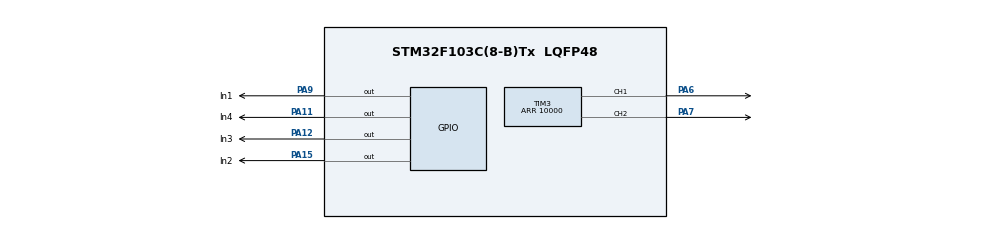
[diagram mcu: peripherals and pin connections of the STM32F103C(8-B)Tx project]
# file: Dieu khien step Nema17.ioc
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Mcu.Family=STM32F1
Mcu.Name=STM32F103C(8-B)Tx
Mcu.Package=LQFP48
NVIC.PriorityGroup=NVIC_PRIORITYGROUP_4
PA11.GPIO_Label=In4
PA11.Signal=GPIO_Output
PA12.GPIO_Label=In3
PA12.Signal=GPIO_Output
PA13.Mode=Serial_Wire
PA13.Signal=SYS_JTMS-SWDIO
PA14.Mode=Serial_Wire
PA14.Signal=SYS_JTCK-SWCLK
PA15.GPIO_Label=In2
PA15.Signal=GPIO_Output
PA6.Signal=S_TIM3_CH1
PA7.Signal=S_TIM3_CH2
PA9.GPIO_Label=In1
PA9.Signal=GPIO_Output
ProjectManager.HeapSize=0x200
ProjectManager.StackSize=0x400
ProjectManager.TargetToolchain=MDK-ARM V5.32
RCC.APB1Freq_Value=8000000
RCC.APB2Freq_Value=8000000
SH.S_TIM3_CH1.0=TIM3_CH1,PWM Generation1 CH1
SH.S_TIM3_CH2.0=TIM3_CH2,PWM Generation2 CH2
TIM2.Period=65535
TIM2.Prescaler=7
TIM3.Channel-PWM\ Generation1\ CH1=TIM_CHANNEL_1
TIM3.Channel-PWM\ Generation2\ CH2=TIM_CHANNEL_2
TIM3.Period=10000
VP_TIM2_VS_ClockSourceINT.Mode=Internal
board=custom

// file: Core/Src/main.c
/* USER CODE BEGIN Header */
/**
 ******************************************************************************
 * @file           : main.c
 * @brief          : Main program body, Microstepping motor driver control in
 * half-stepping and microstepping modes (3/12/2023)
 ******************************************************************************
 * @attention
 *
 * Copyright (c) 2023 STMicroelectronics.
 * All rights reserved.
 *
 * This software is licensed under terms that can be found in the LICENSE file
 * in the root directory of this software component.
 * If no LICENSE file comes with this software, it is provided AS-IS.
 *
 ******************************************************************************
 */
/* USER CODE END Header */
#include "main.h"

TIM_HandleTypeDef htim2;
TIM_HandleTypeDef htim3;

void        SystemClock_Config(void);
static void MX_GPIO_Init(void);
static void MX_TIM2_Init(void);
static void MX_TIM3_Init(void);

/* USER CODE BEGIN 0 */
uint16_t ppr = 400;
float    pps;
float    td;
float    t;
float    pulse = 0;
float    pulse_require;
uint16_t PWM1 = 10000;
uint16_t PWM2 = 0;

uint8_t PinCodeHalfStep[] = {0x0E, 0x0A, 0x0B, 0x09, 0x0D, 0x05, 0x07, 0x06};
// uint8_t PinCodeOnePhase[] = {0x01,0x04,0x02,0x08};
// uint8_t PinCodeSecondPhase[] = {0x05,0x06,0x0A,0x09};
uint16_t StepUp[] =
  {980, 2000, 2900, 3800, 4700, 5600, 6300, 7100, 7700, 8300, 8800, 9300, 9560, 9800, 9950, 10000};
uint16_t StepDown[] =
  {9950, 9800, 9560, 9300, 8800, 8300, 7700, 7100, 6300, 5600, 4700, 3800, 2900, 2000, 980, 0};

// Helper: delay in microseconds using TIM2 counter
static void delay_us(uint32_t time_us)
{
  __HAL_TIM_SET_COUNTER(&htim2, 0);
  while (__HAL_TIM_GET_COUNTER(&htim2) < time_us)
  {
    ; // busy wait
  }
}

static void startMicroStep(void)
{
  __HAL_TIM_SET_COMPARE(&htim3, TIM_CHANNEL_1, 10000);
  __HAL_TIM_SET_COMPARE(&htim3, TIM_CHANNEL_2, 0);
}

static void stopMicroStep(void)
{
  __HAL_TIM_SET_COMPARE(&htim3, TIM_CHANNEL_1, 0);
  __HAL_TIM_SET_COMPARE(&htim3, TIM_CHANNEL_2, 0);
}

void MicroStep(float rpm, float angle)
{
  pulse = 0;
  pps   = (rpm * ppr) / 60.0f;
  td    = ((1.0f / pps) * 1000.0f);  // ms
  t     = (td / 16.0f) * 1000.0f;    // us
  pulse_require = angle * 128.0f / 7.2f;

  startMicroStep();

  while (pulse < pulse_require)
  {
    // for 1
    HAL_GPIO_WritePin(In1_GPIO_Port, In1_Pin, GPIO_PIN_SET);
    HAL_GPIO_WritePin(In2_GPIO_Port, In2_Pin, GPIO_PIN_RESET);
    HAL_GPIO_WritePin(In3_GPIO_Port, In3_Pin, GPIO_PIN_SET);
    HAL_GPIO_WritePin(In4_GPIO_Port, In4_Pin, GPIO_PIN_RESET);

    for (uint8_t i = 0; i < 16; i++)
    {
      if (pulse >= pulse_require)
        break;
      __HAL_TIM_SetCompare(&htim3, TIM_CHANNEL_2, StepUp[i]);
      delay_us(t);
      pulse = pulse + 1;
    }

    // for 2
    for (uint8_t i = 0; i < 16; i++)
    {
      if (pulse >= pulse_require)
        break;
      __HAL_TIM_SetCompare(&htim3, TIM_CHANNEL_1, StepDown[i]);
      delay_us(t);
      pulse = pulse + 1;
    }

    // for 3
    HAL_GPIO_WritePin(In1_GPIO_Port, In1_Pin, GPIO_PIN_RESET);
    HAL_GPIO_WritePin(In2_GPIO_Port, In2_Pin, GPIO_PIN_SET);

    for (uint8_t i = 0; i < 16; i++)
    {
      if (pulse >= pulse_require)
        break;
      __HAL_TIM_SetCompare(&htim3, TIM_CHANNEL_1, StepUp[i]);
      delay_us(t);
      pulse = pulse + 1;
    }

    // for 4
    for (uint8_t i = 0; i < 16; i++)
    {
      if (pulse >= pulse_require)
        break;
      __HAL_TIM_SetCompare(&htim3, TIM_CHANNEL_2, StepDown[i]);
      delay_us(t);
      pulse = pulse + 1;
    }

    // for 5
    HAL_GPIO_WritePin(In3_GPIO_Port, In3_Pin, GPIO_PIN_RESET);
    HAL_GPIO_WritePin(In4_GPIO_Port, In4_Pin, GPIO_PIN_SET);

    for (uint8_t i = 0; i < 16; i++)
    {
      if (pulse >= pulse_require)
        break;
      __HAL_TIM_SetCompare(&htim3, TIM_CHANNEL_2, StepUp[i]);
      delay_us(t);
      pulse = pulse + 1;
    }

    // for 6
    for (uint8_t i = 0; i < 16; i++)
    {
      if (pulse >= pulse_require)
        break;
      __HAL_TIM_SetCompare(&htim3, TIM_CHANNEL_1, StepDown[i]);
      delay_us(t);
      pulse = pulse + 1;
    }

    // for 7
    HAL_GPIO_WritePin(In1_GPIO_Port, In1_Pin, GPIO_PIN_SET);
    HAL_GPIO_WritePin(In2_GPIO_Port, In2_Pin, GPIO_PIN_RESET);

    for (uint8_t i = 0; i < 16; i++)
    {
      if (pulse >= pulse_require)
        break;
      __HAL_TIM_SetCompare(&htim3, TIM_CHANNEL_1, StepUp[i]);
      delay_us(t);
      pulse = pulse + 1;
    }

    // for 8
    for (uint8_t i = 0; i < 16; i++)
    {
      if (pulse >= pulse_require)
        break;
      __HAL_TIM_SetCompare(&htim3, TIM_CHANNEL_2, StepDown[i]);
      delay_us(t);
      pulse = pulse + 1;
    }
  }

  stopMicroStep();
}

void HalfStep(float rpm, float round)
{
  //
  pulse         = 0;
  pps           = (rpm * ppr) / 60.0f;
  td            = ((1.0f / pps) * 1000000.0f);
  pulse_require = (360 * round) * 8.0f / 7.2f;

  while (pulse < pulse_require)
  {
    for (uint8_t i = 0; i < 8; i++)
    {
      __HAL_TIM_SetCompare(&htim3, TIM_CHANNEL_1, 65535);
      __HAL_TIM_SetCompare(&htim3, TIM_CHANNEL_2, 65535);

      HAL_GPIO_WritePin(In1_GPIO_Port, In1_Pin, (GPIO_PinState)(PinCodeHalfStep[i] & 0x01));
      HAL_GPIO_WritePin(In2_GPIO_Port, In2_Pin, (GPIO_PinState)(PinCodeHalfStep[i] & 0x02));
      HAL_GPIO_WritePin(In3_GPIO_Port, In3_Pin, (GPIO_PinState)(PinCodeHalfStep[i] & 0x04));
      HAL_GPIO_WritePin(In4_GPIO_Port, In4_Pin, (GPIO_PinState)(PinCodeHalfStep[i] & 0x08));

      delay_us(td);

      pulse = pulse + 1;
      if (pulse >= pulse_require)
        break;
    }
  }
}
/* USER CODE END 0 */

int main(void)
{

  /* MCU Configuration--------------------------------------------------------*/

  /* Reset of all peripherals, Initializes the Flash interface and the Systick.
   */
  HAL_Init();

  /* Configure the system clock */
  SystemClock_Config();

  /* Initialize all configured peripherals */
  MX_GPIO_Init();
  MX_TIM2_Init();
  MX_TIM3_Init();
  /* USER CODE BEGIN 2 */
  HAL_TIM_Base_Start(&htim2);
  HAL_TIM_PWM_Start(&htim3, TIM_CHANNEL_1);
  HAL_TIM_PWM_Start(&htim3, TIM_CHANNEL_2);

  // HalfStep(50, 10);
  // MicroStep(10, 45);
  // MicroStep(10, 90);
  // MicroStep(10, 180);
  MicroStep(10, 3600);

  /* USER CODE END 2 */

  /* Infinite loop */
  while (1)
  {

  }
}

void SystemClock_Config(void)
{
  RCC_OscInitTypeDef RCC_OscInitStruct = {0};
  RCC_ClkInitTypeDef RCC_ClkInitStruct = {0};

  /** Initializes the RCC Oscillators according to the specified parameters
   * in the RCC_OscInitTypeDef structure.
   */
  RCC_OscInitStruct.OscillatorType      = RCC_OSCILLATORTYPE_HSI;
  RCC_OscInitStruct.HSIState            = RCC_HSI_ON;
  RCC_OscInitStruct.HSICalibrationValue = RCC_HSICALIBRATION_DEFAULT;
  RCC_OscInitStruct.PLL.PLLState        = RCC_PLL_NONE;
  if (HAL_RCC_OscConfig(&RCC_OscInitStruct) != HAL_OK)
  {
    Error_Handler();
  }

  /** Initializes the CPU, AHB and APB buses clocks
   */
  RCC_ClkInitStruct.ClockType =
    RCC_CLOCKTYPE_HCLK | RCC_CLOCKTYPE_SYSCLK | RCC_CLOCKTYPE_PCLK1 | RCC_CLOCKTYPE_PCLK2;
  RCC_ClkInitStruct.SYSCLKSource   = RCC_SYSCLKSOURCE_HSI;
  RCC_ClkInitStruct.AHBCLKDivider  = RCC_SYSCLK_DIV1;
  RCC_ClkInitStruct.APB1CLKDivider = RCC_HCLK_DIV1;
  RCC_ClkInitStruct.APB2CLKDivider = RCC_HCLK_DIV1;

  if (HAL_RCC_ClockConfig(&RCC_ClkInitStruct, FLASH_LATENCY_0) != HAL_OK)
  {
    Error_Handler();
  }
}

static void MX_TIM2_Init(void)
{

  TIM_ClockConfigTypeDef  sClockSourceConfig = {0};
  TIM_MasterConfigTypeDef sMasterConfig      = {0};

  htim2.Instance               = TIM2;
  htim2.Init.Prescaler         = 7;
  htim2.Init.CounterMode       = TIM_COUNTERMODE_UP;
  htim2.Init.Period            = 65535;
  htim2.Init.ClockDivision     = TIM_CLOCKDIVISION_DIV1;
  htim2.Init.AutoReloadPreload = TIM_AUTORELOAD_PRELOAD_DISABLE;
  if (HAL_TIM_Base_Init(&htim2) != HAL_OK)
  {
    Error_Handler();
  }
  sClockSourceConfig.ClockSource = TIM_CLOCKSOURCE_INTERNAL;
  if (HAL_TIM_ConfigClockSource(&htim2, &sClockSourceConfig) != HAL_OK)
  {
    Error_Handler();
  }
  sMasterConfig.MasterOutputTrigger = TIM_TRGO_RESET;
  sMasterConfig.MasterSlaveMode     = TIM_MASTERSLAVEMODE_DISABLE;
  if (HAL_TIMEx_MasterConfigSynchronization(&htim2, &sMasterConfig) != HAL_OK)
  {
    Error_Handler();
  }
}

static void MX_TIM3_Init(void)
{

  TIM_MasterConfigTypeDef sMasterConfig = {0};
  TIM_OC_InitTypeDef      sConfigOC     = {0};

  htim3.Instance               = TIM3;
  htim3.Init.Prescaler         = 0;
  htim3.Init.CounterMode       = TIM_COUNTERMODE_UP;
  htim3.Init.Period            = 10000;
  htim3.Init.ClockDivision     = TIM_CLOCKDIVISION_DIV1;
  htim3.Init.AutoReloadPreload = TIM_AUTORELOAD_PRELOAD_DISABLE;
  if (HAL_TIM_PWM_Init(&htim3) != HAL_OK)
  {
    Error_Handler();
  }
  sMasterConfig.MasterOutputTrigger = TIM_TRGO_RESET;
  sMasterConfig.MasterSlaveMode     = TIM_MASTERSLAVEMODE_DISABLE;
  if (HAL_TIMEx_MasterConfigSynchronization(&htim3, &sMasterConfig) != HAL_OK)
  {
    Error_Handler();
  }
  sConfigOC.OCMode     = TIM_OCMODE_PWM1;
  sConfigOC.Pulse      = 0;
  sConfigOC.OCPolarity = TIM_OCPOLARITY_HIGH;
  sConfigOC.OCFastMode = TIM_OCFAST_DISABLE;
  if (HAL_TIM_PWM_ConfigChannel(&htim3, &sConfigOC, TIM_CHANNEL_1) != HAL_OK)
  {
    Error_Handler();
  }
  if (HAL_TIM_PWM_ConfigChannel(&htim3, &sConfigOC, TIM_CHANNEL_2) != HAL_OK)
  {
    Error_Handler();
  }
  HAL_TIM_MspPostInit(&htim3);
}

static void MX_GPIO_Init(void)
{
  GPIO_InitTypeDef GPIO_InitStruct = {0};

  /* GPIO Ports Clock Enable */
  __HAL_RCC_GPIOC_CLK_ENABLE();
  __HAL_RCC_GPIOD_CLK_ENABLE();
  __HAL_RCC_GPIOA_CLK_ENABLE();
  __HAL_RCC_GPIOB_CLK_ENABLE();

  /*Configure GPIO pin Output Level */
  HAL_GPIO_WritePin(GPIOA, In1_Pin | In4_Pin | In3_Pin | In2_Pin, GPIO_PIN_RESET);

  /*Configure GPIO pins : PC13 PC14 PC15 */
  GPIO_InitStruct.Pin  = GPIO_PIN_13 | GPIO_PIN_14 | GPIO_PIN_15;
  GPIO_InitStruct.Mode = GPIO_MODE_ANALOG;
  HAL_GPIO_Init(GPIOC, &GPIO_InitStruct);

  /*Configure GPIO pins : PD0 PD1 */
  GPIO_InitStruct.Pin  = GPIO_PIN_0 | GPIO_PIN_1;
  GPIO_InitStruct.Mode = GPIO_MODE_ANALOG;
  HAL_GPIO_Init(GPIOD, &GPIO_InitStruct);

  /*Configure GPIO pins : PA0 PA1 PA2 PA3
                           PA4 PA5 PA8 PA10 */
  GPIO_InitStruct.Pin =
    GPIO_PIN_0 | GPIO_PIN_1 | GPIO_PIN_2 | GPIO_PIN_3 | GPIO_PIN_4 | GPIO_PIN_5 | GPIO_PIN_8 | GPIO_PIN_10;
  GPIO_InitStruct.Mode = GPIO_MODE_ANALOG;
  HAL_GPIO_Init(GPIOA, &GPIO_InitStruct);

  /*Configure GPIO pins : PB0 PB1 PB2 PB10
                           PB11 PB12 PB13 PB14
                           PB15 PB3 PB4 PB5
                           PB6 PB7 PB8 PB9 */
  GPIO_InitStruct.Pin = GPIO_PIN_0 | GPIO_PIN_1 | GPIO_PIN_2 | GPIO_PIN_10 | GPIO_PIN_11 | GPIO_PIN_12 |
                        GPIO_PIN_13 | GPIO_PIN_14 | GPIO_PIN_15 | GPIO_PIN_3 | GPIO_PIN_4 | GPIO_PIN_5 |
                        GPIO_PIN_6 | GPIO_PIN_7 | GPIO_PIN_8 | GPIO_PIN_9;
  GPIO_InitStruct.Mode = GPIO_MODE_ANALOG;
  HAL_GPIO_Init(GPIOB, &GPIO_InitStruct);

  /*Configure GPIO pins : In1_Pin In4_Pin In3_Pin In2_Pin */
  GPIO_InitStruct.Pin   = In1_Pin | In4_Pin | In3_Pin | In2_Pin;
  GPIO_InitStruct.Mode  = GPIO_MODE_OUTPUT_PP;
  GPIO_InitStruct.Pull  = GPIO_NOPULL;
  GPIO_InitStruct.Speed = GPIO_SPEED_FREQ_LOW;
  HAL_GPIO_Init(GPIOA, &GPIO_InitStruct);

  /*Configure peripheral I/O remapping */
  __HAL_AFIO_REMAP_PD01_ENABLE();

}

void Error_Handler(void)
{
  __disable_irq();
  while (1)
  {
  }
}

#ifdef USE_FULL_ASSERT
/**
 * @brief  Reports the name of the source file and the source line number
 *         where the assert_param error has occurred.
 * @param  file: pointer to the source file name
 * @param  line: assert_param error line source number
 * @retval None
 */
void assert_failed(uint8_t *file, uint32_t line)
{
  /* USER CODE BEGIN 6 */
  /* User can add his own implementation to report the file name and line
     number, ex: printf("Wrong parameters value: file %s on line %d\r\n", file,
     line) */
  /* USER CODE END 6 */
}
#endif /* USE_FULL_ASSERT */
